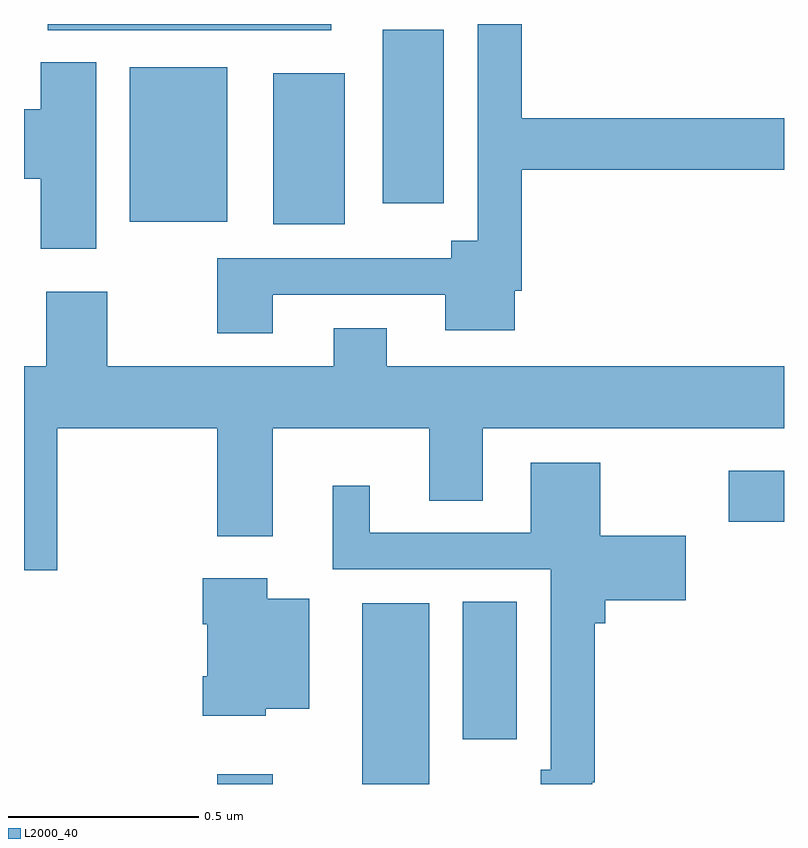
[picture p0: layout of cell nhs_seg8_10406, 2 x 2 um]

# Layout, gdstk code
import gdstk
lib = gdstk.Library(unit=1e-6, precision=1e-09)
def R(c, l, rs):  # rectangles x0, y0, x1, y1
    for r in rs: c.add(gdstk.rectangle(r[:2], r[2:], *l))
def P(c, l, *ps):  # polygons
    for p in ps: c.add(gdstk.Polygon(p, *l))
L2000_40 = (2000, 40)

nhs_seg8_10406 = lib.new_cell('nhs_seg8_10406')
R(nhs_seg8_10406, L2000_40, [(249.508,1112.9,249.655,1112.926), (249.89,1112.9,250.066,1113.376), (250.154,1113.018,250.297,1113.38), (250.854,1113.59,251,1113.724), (249.656,1114.373,249.844,1114.771), (249.278,1114.379,249.535,1114.786), (249.944,1114.428,250.105,1114.885), (249.063,1114.884,249.808,1114.9)])
P(nhs_seg8_10406, L2000_40, [(249.655,1114.188),(250.109,1114.188),(250.109,1114.094),(250.291,1114.094),(250.291,1114.198),(250.31,1114.198),(250.31,1114.516),(251,1114.516),(251,1114.652),(250.31,1114.652),(250.31,1114.9),(250.194,1114.9),(250.194,1114.33),(250.124,1114.33),(250.124,1114.284),(249.508,1114.284),(249.508,1114.086),(249.655,1114.086)],
  [(249.19,1114.799),(249.044,1114.799),(249.044,1114.676),(249,1114.676),(249,1114.493),(249.044,1114.493),(249.044,1114.308),(249.19,1114.308)],
  [(249.088,1113.836),(249.508,1113.836),(249.508,1113.552),(249.655,1113.552),(249.655,1113.836),(250.067,1113.836),(250.067,1113.646),(250.207,1113.646),(250.207,1113.836),(251,1113.836),(251,1114),(249.955,1114),(249.955,1114.099),(249.815,1114.099),(249.815,1114),(249.219,1114),(249.219,1114.195),(249.059,1114.195),(249.059,1114),(249,1114),(249,1113.462),(249.088,1113.462)],
  [(250.495,1112.905),(250.502,1112.905),(250.502,1113.323),(250.529,1113.323),(250.529,1113.383),(250.741,1113.383),(250.741,1113.553),(250.516,1113.553),(250.516,1113.745),(250.334,1113.745),(250.334,1113.561),(249.91,1113.561),(249.91,1113.685),(249.812,1113.685),(249.812,1113.465),(250.386,1113.465),(250.386,1112.937),(250.36,1112.937),(250.36,1112.9),(250.495,1112.9)],
  [(249.636,1113.098),(249.751,1113.098),(249.751,1113.388),(249.64,1113.388),(249.64,1113.442),(249.47,1113.442),(249.47,1113.32),(249.482,1113.32),(249.482,1113.184),(249.47,1113.184),(249.47,1113.08),(249.636,1113.08)])

lib.write_gds('nhs_seg8_10406.gds')
